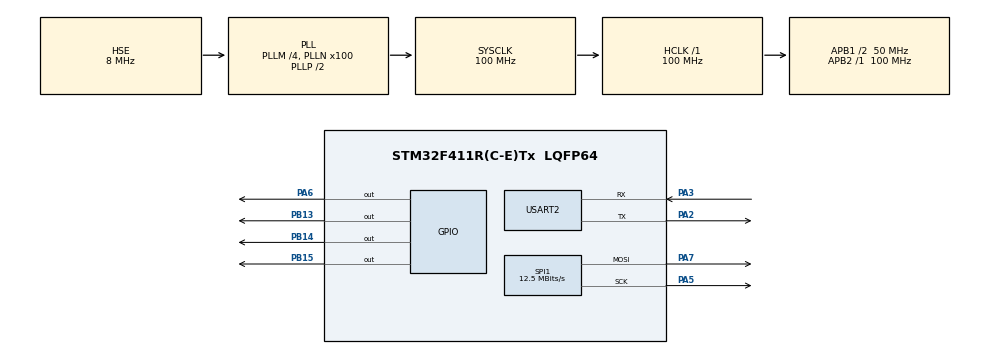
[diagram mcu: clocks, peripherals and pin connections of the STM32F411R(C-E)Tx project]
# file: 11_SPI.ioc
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Mcu.Family=STM32F4
Mcu.Name=STM32F411R(C-E)Tx
Mcu.Package=LQFP64
NVIC.PriorityGroup=NVIC_PRIORITYGROUP_4
PA13.Mode=Serial_Wire
PA13.Signal=SYS_JTMS-SWDIO
PA14.Mode=Serial_Wire
PA14.Signal=SYS_JTCK-SWCLK
PA2.Mode=Asynchronous
PA2.Signal=USART2_TX
PA3.Mode=Asynchronous
PA3.Signal=USART2_RX
PA5.Mode=TX_Only_Simplex_Unidirect_Master
PA5.Signal=SPI1_SCK
PA6.GPIO_Speed=GPIO_SPEED_FREQ_HIGH
PA6.Signal=GPIO_Output
PA7.Mode=TX_Only_Simplex_Unidirect_Master
PA7.Signal=SPI1_MOSI
PB13.GPIO_Speed=GPIO_SPEED_FREQ_HIGH
PB13.Signal=GPIO_Output
PB14.GPIO_Speed=GPIO_SPEED_FREQ_HIGH
PB14.Signal=GPIO_Output
PB15.GPIO_Speed=GPIO_SPEED_FREQ_HIGH
PB15.Signal=GPIO_Output
PH0\ -\ OSC_IN.Mode=HSE-External-Oscillator
PH0\ -\ OSC_IN.Signal=RCC_OSC_IN
PH1\ -\ OSC_OUT.Mode=HSE-External-Oscillator
PH1\ -\ OSC_OUT.Signal=RCC_OSC_OUT
ProjectManager.HeapSize=0x200
ProjectManager.StackSize=0x400
ProjectManager.TargetToolchain=STM32CubeIDE
RCC.48MHZClocksFreq_Value=50000000
RCC.AHBFreq_Value=100000000
RCC.APB1CLKDivider=RCC_HCLK_DIV2
RCC.APB1Freq_Value=50000000
RCC.APB1TimFreq_Value=100000000
RCC.APB2Freq_Value=100000000
RCC.APB2TimFreq_Value=100000000
RCC.CortexFreq_Value=100000000
RCC.HCLKFreq_Value=100000000
RCC.HSE_VALUE=8000000
RCC.HSI_VALUE=16000000
RCC.LSE_VALUE=32768
RCC.PLLM=4
RCC.PLLN=100
RCC.PLLSourceVirtual=RCC_PLLSOURCE_HSE
RCC.SYSCLKFreq_VALUE=100000000
RCC.SYSCLKSource=RCC_SYSCLKSOURCE_PLLCLK
RCC.VCOOutputFreq_Value=200000000
SPI1.BaudRatePrescaler=SPI_BAUDRATEPRESCALER_8
SPI1.CalculateBaudRate=12.5 MBits/s
SPI1.Direction=SPI_DIRECTION_2LINES
SPI1.Mode=SPI_MODE_MASTER
SPI1.VirtualType=VM_MASTER
TIM11.Prescaler=1000-1
USART2.VirtualMode=VM_ASYNC
VP_TIM11_VS_ClockSourceINT.Mode=Enable_Timer
board=custom

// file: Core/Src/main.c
/* USER CODE BEGIN Header */
/**
  ******************************************************************************
  * @file           : main.c
  * @brief          : Main program body
  ******************************************************************************
  * @attention
  *
  * Copyright (c) 2025 STMicroelectronics.
  * All rights reserved.
  *
  * This software is licensed under terms that can be found in the LICENSE file
  * in the root directory of this software component.
  * If no LICENSE file comes with this software, it is provided AS-IS.
  *
  ******************************************************************************
  */
/* USER CODE END Header */
#include "main.h"
#include "spi.h"
#include "tim.h"
#include "usart.h"
#include "gpio.h"

/* USER CODE BEGIN PD */

#define RCLK_HIGH() HAL_GPIO_WritePin(GPIOA, GPIO_PIN_6, GPIO_PIN_SET)
#define RCLK_LOW()  HAL_GPIO_WritePin(GPIOA, GPIO_PIN_6, GPIO_PIN_RESET)

#define SER_PIN GPIO_PIN_13
#define SRCLK_PIN GPIO_PIN_13
#define SER_PIN GPIO_PIN_13

/* USER CODE END PD */

/* USER CODE BEGIN PV */

uint8_t LED_Bar[]=
    {
        0b00000001,
        0b00000010,
        0b00000100,
        0b00001000,
        0b00010000,
        0b00100000,
        0b01000000,
        0b10000000,
    };

/* USER CODE END PV */

void SystemClock_Config(void);
/* USER CODE BEGIN PFP */

void LED_OUT(uint8_t data)
{
  HAL_SPI_Transmit(&hspi1, &data, 1, HAL_MAX_DELAY);

  // 저장 클럭
  RCLK_HIGH();
  HAL_Delay(1);
  RCLK_LOW();
}

void dataOut(uint8_t data)
{
  for (int8_t i = 7 ; i >= 0 ; i--)
  {
    if(data & (i << i))
    {
      HAL_GPIO_WritePin(GPIO_PORT, SER_PIN, GPIO_PIN_SET);
    }
    else
    {
      HAL_GPIO_WritePin(GPIO_PORT, SER_PIN, GPIO_PIN_RESET);
    }
  }

}

/* USER CODE END PFP */

int main(void)
{

  /* MCU Configuration--------------------------------------------------------*/

  /* Reset of all peripherals, Initializes the Flash interface and the Systick. */
  HAL_Init();

  /* Configure the system clock */
  SystemClock_Config();

  /* Initialize all configured peripherals */
  MX_GPIO_Init();
  MX_USART2_UART_Init();
  MX_SPI1_Init();
  MX_TIM11_Init();

  /* Infinite loop */
  /* USER CODE BEGIN WHILE */
  while (1)
  {
    for(uint8_t i = 0 ; i < 8 ; i++)
    {
      LED_OUT(LED_Bar[i]);
      HAL_Delay(100);
    }

    /* USER CODE END WHILE */

  }
}

void SystemClock_Config(void)
{
  RCC_OscInitTypeDef RCC_OscInitStruct = {0};
  RCC_ClkInitTypeDef RCC_ClkInitStruct = {0};

  /** Configure the main internal regulator output voltage
  */
  __HAL_RCC_PWR_CLK_ENABLE();
  __HAL_PWR_VOLTAGESCALING_CONFIG(PWR_REGULATOR_VOLTAGE_SCALE1);

  /** Initializes the RCC Oscillators according to the specified parameters
  * in the RCC_OscInitTypeDef structure.
  */
  RCC_OscInitStruct.OscillatorType = RCC_OSCILLATORTYPE_HSE;
  RCC_OscInitStruct.HSEState = RCC_HSE_ON;
  RCC_OscInitStruct.PLL.PLLState = RCC_PLL_ON;
  RCC_OscInitStruct.PLL.PLLSource = RCC_PLLSOURCE_HSE;
  RCC_OscInitStruct.PLL.PLLM = 4;
  RCC_OscInitStruct.PLL.PLLN = 100;
  RCC_OscInitStruct.PLL.PLLP = RCC_PLLP_DIV2;
  RCC_OscInitStruct.PLL.PLLQ = 4;
  if (HAL_RCC_OscConfig(&RCC_OscInitStruct) != HAL_OK)
  {
    Error_Handler();
  }

  /** Initializes the CPU, AHB and APB buses clocks
  */
  RCC_ClkInitStruct.ClockType = RCC_CLOCKTYPE_HCLK|RCC_CLOCKTYPE_SYSCLK
                              |RCC_CLOCKTYPE_PCLK1|RCC_CLOCKTYPE_PCLK2;
  RCC_ClkInitStruct.SYSCLKSource = RCC_SYSCLKSOURCE_PLLCLK;
  RCC_ClkInitStruct.AHBCLKDivider = RCC_SYSCLK_DIV1;
  RCC_ClkInitStruct.APB1CLKDivider = RCC_HCLK_DIV2;
  RCC_ClkInitStruct.APB2CLKDivider = RCC_HCLK_DIV1;

  if (HAL_RCC_ClockConfig(&RCC_ClkInitStruct, FLASH_LATENCY_3) != HAL_OK)
  {
    Error_Handler();
  }
}

void Error_Handler(void)
{
  __disable_irq();
  while (1)
  {
  }
}
